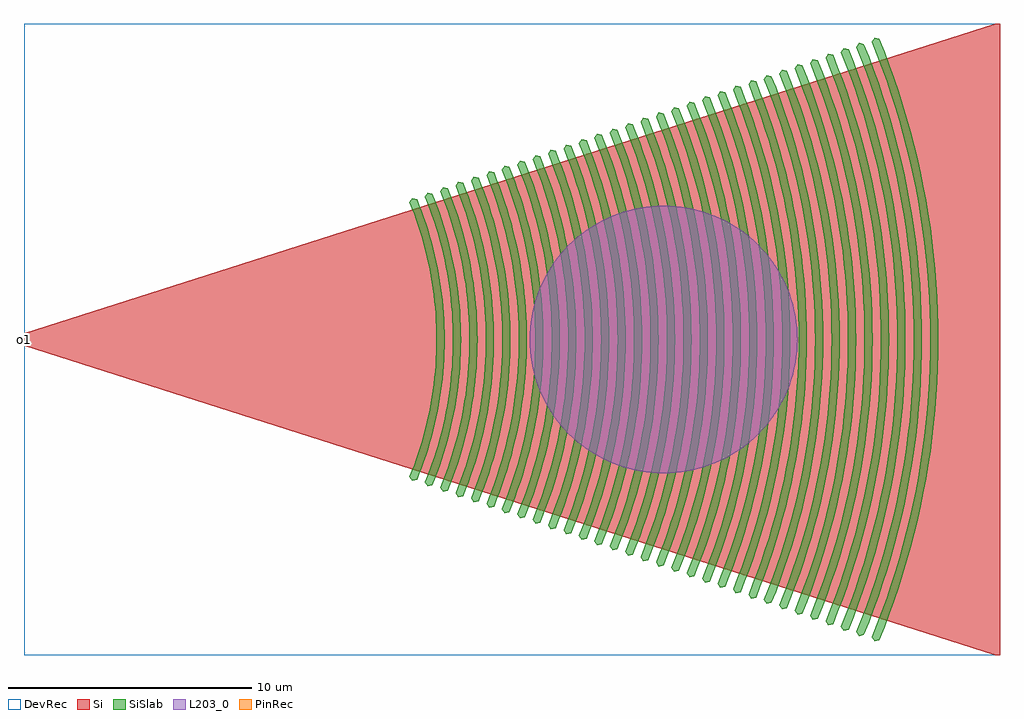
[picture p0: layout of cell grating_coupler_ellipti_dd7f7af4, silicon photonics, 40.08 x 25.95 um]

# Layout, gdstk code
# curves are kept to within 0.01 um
import gdstk
lib = gdstk.Library(unit=1e-6, precision=1e-09)
def R(c, l, rs):  # rectangles x0, y0, x1, y1
    for r in rs: c.add(gdstk.rectangle(r[:2], r[2:], *l))
def P(c, l, *ps):  # polygons
    for p in ps: c.add(gdstk.Polygon(p, *l))
Si = (1, 0)
PinRec = (1, 10)
SiSlab = (2, 0)
DevRec = (68, 0)
L203_0 = (203, 0)

circle_layerte_radius5p5 = lib.new_cell('circle_layerTE_radius5p5')
P(circle_layerte_radius5p5, L203_0, [(5.5,0),(5.495,0.24),(5.453,0.718),(5.37,1.19),(5.245,1.654),(5.081,2.105),(4.879,2.54),(4.639,2.955),(4.505,3.155),(4.213,3.535),(3.889,3.889),(3.535,4.213),(3.155,4.505),(2.955,4.639),(2.54,4.879),(2.105,5.081),(1.654,5.245),(1.19,5.37),(0.718,5.453),(0.24,5.495),(0,5.5),(-0.24,5.495),(-0.718,5.453),(-1.19,5.37),(-1.654,5.245),(-2.105,5.081),(-2.54,4.879),(-2.955,4.639),(-3.155,4.505),(-3.535,4.213),(-3.889,3.889),(-4.213,3.535),(-4.505,3.155),(-4.639,2.955),(-4.879,2.54),(-5.081,2.105),(-5.245,1.654),(-5.37,1.19),(-5.453,0.718),(-5.495,0.24),(-5.5,0),(-5.495,-0.24),(-5.453,-0.718),(-5.37,-1.19),(-5.245,-1.654),(-5.081,-2.105),(-4.879,-2.54),(-4.639,-2.955),(-4.505,-3.155),(-4.213,-3.535),(-3.889,-3.889),(-3.535,-4.213),(-3.155,-4.505),(-2.955,-4.639),(-2.54,-4.879),(-2.105,-5.081),(-1.654,-5.245),(-1.19,-5.37),(-0.718,-5.453),(-0.24,-5.495),(0,-5.5),(0.24,-5.495),(0.718,-5.453),(1.19,-5.37),(1.654,-5.245),(2.105,-5.081),(2.54,-4.879),(2.955,-4.639),(3.155,-4.505),(3.535,-4.213),(3.889,-3.889),(4.213,-3.535),(4.505,-3.155),(4.639,-2.955),(4.879,-2.54),(5.081,-2.105),(5.245,-1.654),(5.37,-1.19),(5.453,-0.718),(5.495,-0.24)])

grating_coupler_ellipti_ = lib.new_cell('grating_coupler_ellipti_dd7f7af4')
P(grating_coupler_ellipti_, Si, [(0.471,-0.25),(0.471,0.25),(40.352,12.973),(40.552,12.973),(40.552,-12.973),(40.352,-12.973)])
P(grating_coupler_ellipti_, SiSlab, [(16.414,-5.811),(16.301,-5.646),(16.58,-4.906),(16.82,-4.153),(17.019,-3.39),(17.178,-2.617),(17.296,-1.836),(17.352,-1.313),(17.389,-0.789),(17.409,0),(17.389,0.789),(17.352,1.313),(17.296,1.836),(17.178,2.617),(17.019,3.39),(16.82,4.153),(16.58,4.906),(16.301,5.646),(16.414,5.811),(16.61,5.769),(16.709,5.52),(17.063,4.504),(17.344,3.465),(17.506,2.675),(17.627,1.877),(17.705,1.075),(17.743,0),(17.705,-1.075),(17.627,-1.877),(17.506,-2.675),(17.344,-3.465),(17.063,-4.504),(16.709,-5.52),(16.61,-5.769)],
  [(17.047,-6.03),(16.933,-5.865),(17.224,-5.096),(17.473,-4.315),(17.68,-3.521),(17.845,-2.718),(17.932,-2.179),(18.025,-1.364),(18.064,-0.819),(18.085,0),(18.064,0.819),(18.025,1.364),(17.932,2.179),(17.845,2.718),(17.68,3.521),(17.473,4.315),(17.224,5.096),(16.933,5.865),(17.047,6.03),(17.243,5.989),(17.346,5.73),(17.713,4.675),(17.939,3.868),(18.066,3.325),(18.22,2.501),(18.33,1.671),(18.396,0.837),(18.419,0),(18.396,-0.837),(18.33,-1.671),(18.22,-2.501),(18.066,-3.325),(17.939,-3.868),(17.713,-4.675),(17.346,-5.73),(17.243,-5.989)],
  [(17.68,-6.25),(17.566,-6.085),(17.868,-5.287),(18.126,-4.476),(18.341,-3.653),(18.512,-2.82),(18.602,-2.26),(18.699,-1.415),(18.739,-0.85),(18.761,0),(18.739,0.85),(18.699,1.415),(18.602,2.26),(18.512,2.82),(18.341,3.653),(18.126,4.476),(17.868,5.287),(17.566,6.085),(17.68,6.25),(17.876,6.208),(17.982,5.94),(18.182,5.397),(18.363,4.846),(18.524,4.29),(18.665,3.729),(18.84,2.878),(18.97,2.02),(19.031,1.445),(19.072,0.868),(19.095,0),(19.072,-0.868),(19.031,-1.445),(18.97,-2.02),(18.84,-2.878),(18.665,-3.729),(18.524,-4.29),(18.363,-4.846),(18.182,-5.397),(17.982,-5.94),(17.876,-6.208)],
  [(18.313,-6.469),(18.199,-6.305),(18.511,-5.478),(18.779,-4.638),(19.002,-3.785),(19.179,-2.922),(19.311,-2.051),(19.373,-1.466),(19.427,-0.587),(19.437,0),(19.427,0.587),(19.373,1.466),(19.311,2.051),(19.179,2.922),(19.002,3.785),(18.779,4.638),(18.511,5.478),(18.199,6.305),(18.313,6.469),(18.509,6.428),(18.619,6.15),(18.826,5.587),(19.013,5.018),(19.18,4.442),(19.326,3.861),(19.452,3.275),(19.557,2.685),(19.676,1.794),(19.747,0.898),(19.771,0),(19.747,-0.898),(19.676,-1.794),(19.557,-2.685),(19.452,-3.275),(19.326,-3.861),(19.18,-4.442),(19.013,-5.018),(18.826,-5.587),(18.619,-6.15),(18.509,-6.428)],
  [(18.946,-6.689),(18.832,-6.524),(19.155,-5.669),(19.432,-4.799),(19.663,-3.917),(19.846,-3.024),(19.942,-2.423),(20.047,-1.518),(20.103,-0.608),(20.113,0),(20.103,0.608),(20.047,1.518),(19.942,2.423),(19.846,3.024),(19.663,3.917),(19.432,4.799),(19.155,5.669),(18.832,6.524),(18.946,6.689),(19.141,6.647),(19.365,6.07),(19.569,5.484),(19.752,4.892),(19.914,4.294),(20.055,3.69),(20.226,2.776),(20.348,1.855),(20.422,0.929),(20.447,0),(20.422,-0.929),(20.348,-1.855),(20.226,-2.776),(20.055,-3.69),(19.914,-4.294),(19.752,-4.892),(19.569,-5.484),(19.365,-6.07),(19.141,-6.647)],
  [(19.579,-6.908),(19.465,-6.744),(19.799,-5.86),(20.085,-4.961),(20.323,-4.049),(20.513,-3.125),(20.613,-2.505),(20.72,-1.569),(20.765,-0.942),(20.789,0),(20.765,0.942),(20.72,1.569),(20.613,2.505),(20.513,3.125),(20.323,4.049),(20.085,4.961),(19.799,5.86),(19.465,6.744),(19.579,6.908),(19.774,6.867),(20.006,6.271),(20.216,5.666),(20.405,5.054),(20.572,4.435),(20.718,3.812),(20.894,2.868),(21.021,1.916),(21.097,0.96),(21.123,0),(21.097,-0.96),(21.021,-1.916),(20.894,-2.868),(20.718,-3.812),(20.572,-4.435),(20.405,-5.054),(20.216,-5.666),(20.006,-6.271),(19.774,-6.867)],
  [(20.212,-7.128),(20.098,-6.963),(20.443,-6.05),(20.738,-5.122),(20.984,-4.18),(21.18,-3.227),(21.326,-2.265),(21.394,-1.62),(21.44,-0.973),(21.465,0),(21.44,0.973),(21.394,1.62),(21.326,2.265),(21.18,3.227),(20.984,4.18),(20.738,5.122),(20.443,6.05),(20.098,6.963),(20.212,7.128),(20.407,7.086),(20.646,6.471),(20.863,5.847),(21.058,5.215),(21.231,4.577),(21.381,3.934),(21.563,2.96),(21.694,1.978),(21.772,0.99),(21.799,0),(21.772,-0.99),(21.694,-1.978),(21.563,-2.96),(21.381,-3.934),(21.231,-4.577),(21.058,-5.215),(20.863,-5.847),(20.646,-6.471),(20.407,-7.086)],
  [(20.844,-7.347),(20.731,-7.183),(21.086,-6.241),(21.391,-5.284),(21.645,-4.312),(21.847,-3.329),(21.953,-2.668),(22.068,-1.671),(22.13,-0.669),(22.141,0),(22.13,0.669),(22.068,1.671),(21.953,2.668),(21.847,3.329),(21.645,4.312),(21.391,5.284),(21.086,6.241),(20.731,7.183),(20.844,7.347),(21.04,7.306),(21.286,6.671),(21.51,6.028),(21.711,5.377),(21.889,4.719),(22.044,4.056),(22.232,3.051),(22.367,2.039),(22.448,1.021),(22.475,0),(22.448,-1.021),(22.367,-2.039),(22.232,-3.051),(22.044,-4.056),(21.889,-4.719),(21.711,-5.377),(21.51,-6.028),(21.286,-6.671),(21.04,-7.306)],
  [(21.477,-7.567),(21.364,-7.402),(21.73,-6.432),(22.044,-5.445),(22.306,-4.444),(22.514,-3.431),(22.669,-2.408),(22.742,-1.722),(22.79,-1.034),(22.817,0),(22.79,1.034),(22.742,1.722),(22.669,2.408),(22.514,3.431),(22.306,4.444),(22.044,5.445),(21.73,6.432),(21.364,7.402),(21.477,7.567),(21.673,7.525),(21.926,6.872),(22.157,6.209),(22.364,5.538),(22.548,4.861),(22.707,4.177),(22.901,3.143),(23.039,2.1),(23.123,1.052),(23.151,0),(23.123,-1.052),(23.039,-2.1),(22.901,-3.143),(22.707,-4.177),(22.548,-4.861),(22.364,-5.538),(22.157,-6.209),(21.926,-6.872),(21.673,-7.525)],
  [(22.11,-7.786),(21.997,-7.622),(22.374,-6.623),(22.697,-5.607),(22.967,-4.576),(23.181,-3.532),(23.294,-2.831),(23.415,-1.773),(23.481,-0.71),(23.493,0),(23.481,0.71),(23.415,1.773),(23.294,2.831),(23.181,3.532),(22.967,4.576),(22.697,5.607),(22.374,6.623),(21.997,7.622),(22.11,7.786),(22.306,7.745),(22.567,7.072),(22.804,6.39),(23.017,5.7),(23.206,5.002),(23.37,4.299),(23.569,3.235),(23.712,2.161),(23.798,1.082),(23.827,0),(23.798,-1.082),(23.712,-2.161),(23.569,-3.235),(23.37,-4.299),(23.206,-5.002),(23.017,-5.7),(22.804,-6.39),(22.567,-7.072),(22.306,-7.745)],
  [(22.743,-8.006),(22.629,-7.841),(23.018,-6.813),(23.35,-5.769),(23.628,-4.708),(23.848,-3.634),(23.964,-2.913),(24.089,-1.824),(24.141,-1.095),(24.169,0),(24.141,1.095),(24.089,1.824),(23.964,2.913),(23.848,3.634),(23.628,4.708),(23.35,5.769),(23.018,6.813),(22.629,7.841),(22.743,8.006),(22.939,7.964),(23.207,7.273),(23.451,6.571),(23.67,5.861),(23.864,5.144),(24.033,4.421),(24.238,3.326),(24.385,2.223),(24.473,1.113),(24.503,0),(24.473,-1.113),(24.385,-2.223),(24.238,-3.326),(24.033,-4.421),(23.864,-5.144),(23.67,-5.861),(23.451,-6.571),(23.207,-7.273),(22.939,-7.964)],
  [(23.376,-8.225),(23.262,-8.061),(23.661,-7.004),(24.004,-5.93),(24.288,-4.84),(24.515,-3.736),(24.634,-2.994),(24.763,-1.875),(24.816,-1.126),(24.845,0),(24.816,1.126),(24.763,1.875),(24.634,2.994),(24.515,3.736),(24.288,4.84),(24.004,5.93),(23.661,7.004),(23.262,8.061),(23.376,8.225),(23.572,8.184),(23.976,7.114),(24.323,6.023),(24.523,5.286),(24.696,4.543),(24.907,3.418),(25.058,2.284),(25.148,1.144),(25.179,0),(25.148,-1.144),(25.058,-2.284),(24.907,-3.418),(24.696,-4.543),(24.523,-5.286),(24.323,-6.023),(23.976,-7.114),(23.572,-8.184)],
  [(24.009,-8.445),(23.895,-8.28),(24.305,-7.195),(24.657,-6.092),(24.949,-4.971),(25.182,-3.838),(25.304,-3.076),(25.437,-1.926),(25.508,-0.771),(25.521,0),(25.508,0.771),(25.437,1.926),(25.304,3.076),(25.182,3.838),(24.949,4.971),(24.657,6.092),(24.305,7.195),(23.895,8.28),(24.009,8.445),(24.205,8.403),(24.488,7.674),(24.745,6.933),(24.976,6.184),(25.181,5.428),(25.359,4.665),(25.575,3.51),(25.73,2.345),(25.823,1.174),(25.855,0),(25.823,-1.174),(25.73,-2.345),(25.575,-3.51),(25.359,-4.665),(25.181,-5.428),(24.976,-6.184),(24.745,-6.933),(24.488,-7.674),(24.205,-8.403)],
  [(24.642,-8.664),(24.528,-8.5),(24.949,-7.386),(25.31,-6.253),(25.61,-5.103),(25.849,-3.939),(26.027,-2.765),(26.11,-1.977),(26.184,-0.792),(26.197,0),(26.184,0.792),(26.11,1.977),(26.027,2.765),(25.849,3.939),(25.61,5.103),(25.31,6.253),(24.949,7.386),(24.528,8.5),(24.642,8.664),(24.838,8.623),(25.263,7.495),(25.63,6.346),(25.84,5.57),(26.022,4.787),(26.244,3.601),(26.403,2.406),(26.499,1.205),(26.531,0),(26.499,-1.205),(26.403,-2.406),(26.244,-3.601),(26.022,-4.787),(25.84,-5.57),(25.63,-6.346),(25.263,-7.495),(24.838,-8.623)],
  [(25.275,-8.884),(25.161,-8.719),(25.593,-7.577),(25.963,-6.415),(26.271,-5.235),(26.516,-4.041),(26.645,-3.239),(26.784,-2.028),(26.859,-0.812),(26.873,0),(26.859,0.812),(26.784,2.028),(26.645,3.239),(26.516,4.041),(26.271,5.235),(25.963,6.415),(25.593,7.577),(25.161,8.719),(25.275,8.884),(25.47,8.842),(25.907,7.686),(26.283,6.507),(26.498,5.711),(26.685,4.908),(26.913,3.693),(27.076,2.468),(27.174,1.236),(27.207,0),(27.174,-1.236),(27.076,-2.468),(26.913,-3.693),(26.685,-4.908),(26.498,-5.711),(26.283,-6.507),(25.907,-7.686),(25.47,-8.842)],
  [(25.908,-9.103),(25.794,-8.939),(26.236,-7.767),(26.616,-6.576),(26.932,-5.367),(27.183,-4.143),(27.37,-2.908),(27.458,-2.079),(27.535,-0.833),(27.549,0),(27.535,0.833),(27.458,2.079),(27.37,2.908),(27.183,4.143),(26.932,5.367),(26.616,6.576),(26.236,7.767),(25.794,8.939),(25.908,9.103),(26.103,9.062),(26.551,7.877),(26.815,7.074),(27.05,6.262),(27.348,5.03),(27.582,3.785),(27.749,2.529),(27.849,1.266),(27.883,0),(27.849,-1.266),(27.749,-2.529),(27.582,-3.785),(27.348,-5.03),(27.05,-6.262),(26.815,-7.074),(26.551,-7.877),(26.103,-9.062)],
  [(26.54,-9.323),(26.427,-9.158),(26.88,-7.958),(27.269,-6.738),(27.593,-5.499),(27.85,-4.245),(27.985,-3.402),(28.132,-2.13),(28.192,-1.279),(28.225,0),(28.192,1.279),(28.132,2.13),(27.985,3.402),(27.85,4.245),(27.593,5.499),(27.269,6.738),(26.88,7.958),(26.427,9.158),(26.54,9.323),(26.736,9.281),(27.195,8.068),(27.465,7.245),(27.706,6.414),(28.011,5.152),(28.25,3.876),(28.421,2.59),(28.524,1.297),(28.559,0),(28.524,-1.297),(28.421,-2.59),(28.25,-3.876),(28.011,-5.152),(27.706,-6.414),(27.465,-7.245),(27.195,-8.068),(26.736,-9.281)],
  [(27.173,-9.542),(27.06,-9.378),(27.524,-8.149),(27.922,-6.899),(28.253,-5.63),(28.517,-4.346),(28.713,-3.05),(28.805,-2.181),(28.867,-1.31),(28.901,0),(28.867,1.31),(28.805,2.181),(28.713,3.05),(28.517,4.346),(28.253,5.63),(27.922,6.899),(27.524,8.149),(27.06,9.378),(27.173,9.542),(27.369,9.501),(27.838,8.258),(28.242,6.992),(28.473,6.137),(28.675,5.274),(28.919,3.968),(29.094,2.651),(29.199,1.328),(29.235,0),(29.199,-1.328),(29.094,-2.651),(28.919,-3.968),(28.675,-5.274),(28.473,-6.137),(28.242,-6.992),(27.838,-8.258),(27.369,-9.501)],
  [(27.806,-9.762),(27.693,-9.597),(28.168,-8.34),(28.575,-7.061),(28.914,-5.762),(29.184,-4.448),(29.326,-3.565),(29.479,-2.233),(29.562,-0.894),(29.577,0),(29.562,0.894),(29.479,2.233),(29.385,3.122),(29.184,4.448),(28.914,5.762),(28.575,7.061),(28.168,8.34),(27.693,9.597),(27.806,9.762),(28.002,9.72),(28.482,8.449),(28.895,7.153),(29.132,6.278),(29.338,5.396),(29.588,4.06),(29.767,2.713),(29.875,1.358),(29.911,0),(29.875,-1.358),(29.767,-2.713),(29.588,-4.06),(29.338,-5.396),(29.132,-6.278),(28.895,-7.153),(28.482,-8.449),(28.002,-9.72)],
  [(28.439,-9.982),(28.325,-9.817),(28.811,-8.531),(29.228,-7.222),(29.575,-5.894),(29.851,-4.55),(29.996,-3.647),(30.153,-2.284),(30.217,-1.371),(30.253,0),(30.217,1.371),(30.153,2.284),(29.996,3.647),(29.851,4.55),(29.575,5.894),(29.228,7.222),(28.811,8.531),(28.325,9.817),(28.439,9.982),(28.635,9.94),(29.126,8.64),(29.548,7.315),(29.79,6.42),(30.001,5.518),(30.256,4.151),(30.44,2.774),(30.55,1.389),(30.587,0),(30.55,-1.389),(30.44,-2.774),(30.256,-4.151),(30.001,-5.518),(29.673,-6.869),(29.415,-7.759),(29.126,-8.64),(28.635,-9.94)],
  [(29.072,-10.201),(28.958,-10.036),(29.455,-8.721),(29.881,-7.384),(30.236,-6.026),(30.518,-4.652),(30.728,-3.265),(30.827,-2.335),(30.913,-0.935),(30.929,0),(30.913,0.935),(30.827,2.335),(30.728,3.265),(30.518,4.652),(30.236,6.026),(29.881,7.384),(29.455,8.721),(28.958,10.036),(29.072,10.201),(29.268,10.159),(29.77,8.831),(30.065,7.93),(30.329,7.02),(30.664,5.639),(30.925,4.243),(31.112,2.835),(31.225,1.42),(31.263,0),(31.225,-1.42),(31.112,-2.835),(30.925,-4.243),(30.664,-5.639),(30.329,-7.02),(30.065,-7.93),(29.77,-8.831),(29.268,-10.159)],
  [(29.705,-10.421),(29.591,-10.256),(30.099,-8.912),(30.534,-7.545),(30.897,-6.158),(31.185,-4.753),(31.336,-3.81),(31.5,-2.386),(31.568,-1.433),(31.605,0),(31.568,1.433),(31.5,2.386),(31.336,3.81),(31.185,4.753),(30.897,6.158),(30.534,7.545),(30.099,8.912),(29.591,10.256),(29.705,10.421),(29.901,10.379),(30.413,9.022),(30.715,8.102),(30.985,7.172),(31.327,5.761),(31.594,4.335),(31.785,2.897),(31.9,1.45),(31.939,0),(31.9,-1.45),(31.785,-2.897),(31.594,-4.335),(31.327,-5.761),(30.985,-7.172),(30.715,-8.102),(30.413,-9.022),(29.901,-10.379)],
  [(30.338,-10.64),(30.224,-10.475),(30.743,-9.103),(31.187,-7.707),(31.558,-6.29),(31.852,-4.855),(32.007,-3.891),(32.174,-2.437),(32.243,-1.463),(32.281,0),(32.243,1.463),(32.174,2.437),(32.007,3.891),(31.852,4.855),(31.558,6.29),(31.187,7.707),(30.743,9.103),(30.224,10.475),(30.338,10.64),(30.534,10.598),(31.057,9.212),(31.507,7.799),(31.765,6.845),(31.99,5.883),(32.263,4.426),(32.458,2.958),(32.575,1.481),(32.615,0),(32.575,-1.481),(32.458,-2.958),(32.263,-4.426),(31.99,-5.883),(31.765,-6.845),(31.507,-7.799),(31.057,-9.212),(30.534,-10.598)],
  [(30.971,-10.86),(30.857,-10.695),(31.386,-9.294),(31.84,-7.868),(32.218,-6.421),(32.519,-4.957),(32.743,-3.479),(32.848,-2.488),(32.94,-0.996),(32.957,0),(32.94,0.996),(32.848,2.488),(32.743,3.479),(32.519,4.957),(32.218,6.421),(31.84,7.868),(31.386,9.294),(30.857,10.695),(30.971,10.86),(31.166,10.818),(31.701,9.403),(32.16,7.961),(32.424,6.987),(32.653,6.005),(32.931,4.518),(33.131,3.019),(33.251,1.512),(33.291,0),(33.251,-1.512),(33.131,-3.019),(32.931,-4.518),(32.653,-6.005),(32.424,-6.987),(32.16,-7.961),(31.701,-9.403),(31.166,-10.818)],
  [(31.604,-11.079),(31.49,-10.914),(32.03,-9.484),(32.493,-8.03),(32.879,-6.553),(33.186,-5.059),(33.347,-4.054),(33.522,-2.539),(33.616,-1.017),(33.633,0),(33.616,1.017),(33.522,2.539),(33.347,4.054),(33.186,5.059),(32.879,6.553),(32.493,8.03),(32.03,9.484),(31.49,10.914),(31.604,11.079),(31.799,11.038),(32.345,9.594),(32.666,8.616),(32.952,7.627),(33.316,6.127),(33.6,4.61),(33.803,3.08),(33.926,1.542),(33.967,0),(33.926,-1.542),(33.803,-3.08),(33.6,-4.61),(33.316,-6.127),(32.952,-7.627),(32.666,-8.616),(32.345,-9.594),(31.799,-11.038)],
  [(32.236,-11.299),(32.123,-11.134),(32.674,-9.675),(33.146,-8.191),(33.287,-7.692),(33.54,-6.685),(33.853,-5.16),(34.086,-3.622),(34.195,-2.59),(34.291,-1.037),(34.309,0),(34.291,1.037),(34.195,2.59),(34.086,3.622),(33.853,5.16),(33.54,6.685),(33.287,7.692),(33.146,8.191),(32.674,9.675),(32.123,11.134),(32.236,11.299),(32.432,11.257),(32.988,9.785),(33.316,8.787),(33.608,7.779),(33.979,6.249),(34.269,4.702),(34.476,3.142),(34.601,1.573),(34.643,0),(34.601,-1.573),(34.476,-3.142),(34.269,-4.702),(33.979,-6.249),(33.608,-7.779),(33.316,-8.787),(32.988,-9.785),(32.432,-11.257)],
  [(32.869,-11.518),(32.756,-11.353),(33.318,-9.866),(33.8,-8.353),(34.201,-6.817),(34.52,-5.262),(34.688,-4.217),(34.869,-2.641),(34.944,-1.586),(34.985,0),(34.944,1.586),(34.869,2.641),(34.688,4.217),(34.52,5.262),(34.201,6.817),(33.8,8.353),(33.318,9.866),(32.756,11.353),(32.869,11.518),(33.065,11.477),(33.632,9.975),(33.966,8.958),(34.264,7.93),(34.642,6.37),(34.937,4.793),(35.149,3.203),(35.276,1.604),(35.319,0),(35.276,-1.604),(35.149,-3.203),(34.937,-4.793),(34.642,-6.37),(34.264,-7.93),(33.966,-8.958),(33.632,-9.975),(33.065,-11.477)],
  [(33.502,-11.738),(33.389,-11.573),(33.961,-10.057),(34.453,-8.514),(34.862,-6.949),(35.187,-5.364),(35.358,-4.299),(35.543,-2.692),(35.619,-1.617),(35.661,0),(35.619,1.617),(35.543,2.692),(35.358,4.299),(35.187,5.364),(34.862,6.949),(34.453,8.514),(33.961,10.057),(33.389,11.573),(33.502,11.738),(33.698,11.696),(34.276,10.166),(34.616,9.13),(34.92,8.082),(35.305,6.492),(35.606,4.885),(35.688,4.346),(35.822,3.264),(35.918,2.178),(35.951,1.634),(35.995,0),(35.951,-1.634),(35.918,-2.178),(35.822,-3.264),(35.688,-4.346),(35.606,-4.885),(35.305,-6.492),(34.92,-8.082),(34.616,-9.13),(34.276,-10.166),(33.698,-11.696)],
  [(34.135,-11.957),(34.022,-11.792),(34.605,-10.248),(35.106,-8.676),(35.523,-7.081),(35.854,-5.466),(36.028,-4.381),(36.216,-2.743),(36.294,-1.647),(36.333,-0.549),(36.337,0),(36.333,0.549),(36.294,1.647),(36.216,2.743),(36.028,4.381),(35.854,5.466),(35.523,7.081),(35.106,8.676),(34.605,10.248),(34.022,11.792),(34.135,11.957),(34.331,11.916),(34.92,10.357),(35.426,8.769),(35.716,7.696),(35.968,6.614),(36.275,4.977),(36.431,3.877),(36.494,3.325),(36.548,2.773),(36.626,1.665),(36.671,0),(36.626,-1.665),(36.548,-2.773),(36.494,-3.325),(36.431,-3.877),(36.275,-4.977),(35.968,-6.614),(35.716,-7.696),(35.426,-8.769),(34.92,-10.357),(34.331,-11.916)],
  [(34.768,-12.177),(34.654,-12.012),(35.249,-10.438),(35.759,-8.837),(35.91,-8.298),(36.183,-7.212),(36.306,-6.666),(36.521,-5.567),(36.615,-5.016),(36.772,-3.907),(36.89,-2.794),(36.935,-2.237),(36.994,-1.119),(37.013,0),(36.994,1.119),(36.935,2.237),(36.89,2.794),(36.772,3.907),(36.615,5.016),(36.521,5.567),(36.306,6.666),(36.183,7.212),(35.91,8.298),(35.759,8.837),(35.249,10.438),(34.654,12.012),(34.768,12.177),(34.964,12.135),(35.373,11.081),(35.563,10.548),(35.745,10.012),(36.079,8.93),(36.374,7.838),(36.631,6.736),(36.944,5.068),(37.103,3.948),(37.167,3.387),(37.222,2.824),(37.302,1.696),(37.327,1.131),(37.347,0),(37.327,-1.131),(37.302,-1.696),(37.222,-2.824),(37.167,-3.387),(37.103,-3.948),(36.944,-5.068),(36.631,-6.736),(36.374,-7.838),(36.079,-8.93),(35.745,-10.012),(35.563,-10.548),(35.373,-11.081),(34.964,-12.135)],
  [(35.401,-12.396),(35.287,-12.232),(35.499,-11.7),(35.893,-10.629),(36.412,-8.999),(36.566,-8.45),(36.844,-7.344),(37.084,-6.23),(37.188,-5.669),(37.369,-4.544),(37.509,-3.413),(37.564,-2.845),(37.644,-1.709),(37.684,-0.57),(37.689,0),(37.684,0.57),(37.644,1.709),(37.564,2.845),(37.509,3.413),(37.369,4.544),(37.188,5.669),(37.084,6.23),(36.844,7.344),(36.566,8.45),(36.412,8.999),(35.893,10.629),(35.499,11.7),(35.287,12.232),(35.401,12.396),(35.597,12.355),(36.207,10.739),(36.392,10.193),(36.732,9.092),(37.033,7.98),(37.294,6.858),(37.41,6.294),(37.612,5.16),(37.698,4.591),(37.84,3.448),(37.896,2.875),(37.977,1.726),(38.023,0),(37.977,-1.726),(37.896,-2.875),(37.84,-3.448),(37.698,-4.591),(37.612,-5.16),(37.516,-5.728),(37.294,-6.858),(37.033,-7.98),(36.732,-9.092),(36.567,-9.644),(36.207,-10.739),(35.597,-12.355)])
R(grating_coupler_ellipti_, DevRec, [(0.471,-12.973,40.552,12.973)])
grating_coupler_ellipti_.add(gdstk.FlexPath([(0.472,0),(0.47,0)], 0.5, ends="flush", simple_path=True, layer=1, datatype=10))  # PinRec
grating_coupler_ellipti_.add(gdstk.Reference(circle_layerte_radius5p5, (26.74,0)))
grating_coupler_ellipti_.add(gdstk.Label('o1', (0.471,0), layer=1, texttype=10))

lib.write_gds('grating_coupler_ellipti_dd7f7af4.gds')
